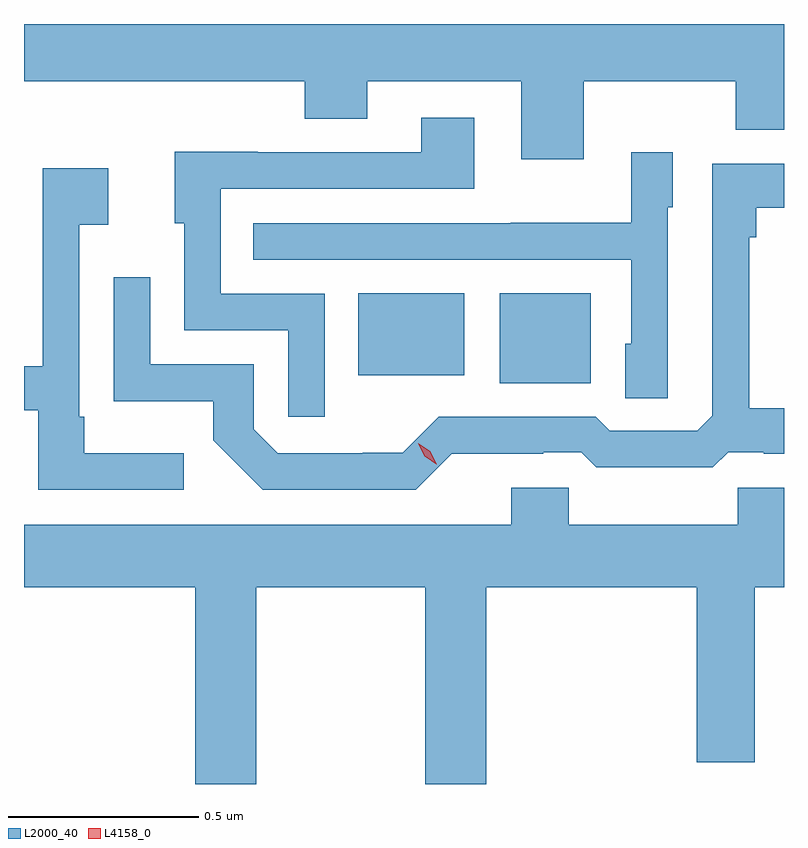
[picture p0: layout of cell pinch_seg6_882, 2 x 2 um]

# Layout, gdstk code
import gdstk
lib = gdstk.Library(unit=1e-6, precision=1e-09)
def R(c, l, rs):  # rectangles x0, y0, x1, y1
    for r in rs: c.add(gdstk.rectangle(r[:2], r[2:], *l))
def P(c, l, *ps):  # polygons
    for p in ps: c.add(gdstk.Polygon(p, *l))
L2000_40 = (2000, 40)
L4158_0 = (4158, 0)

pinch_seg6_882 = lib.new_cell('pinch_seg6_882')
R(pinch_seg6_882, L2000_40, [(175.724,962.525,175.963,962.761), (175.352,962.546,175.63,962.761)])
P(pinch_seg6_882, L2000_40, [(175.945,963.32),(176.345,963.32),(176.345,963.192),(176.472,963.192),(176.472,963.47),(174.472,963.47),(174.472,963.32),(175.211,963.32),(175.211,963.221),(175.375,963.221),(175.375,963.32),(175.781,963.32),(175.781,963.114),(175.945,963.114)],
  [(175.263,962.76),(174.99,962.76),(174.99,963.036),(175.657,963.036),(175.657,963.223),(175.517,963.223),(175.517,963.132),(175.087,963.132),(175.087,963.134),(174.869,963.134),(174.869,962.946),(174.894,962.946),(174.894,962.664),(175.167,962.664),(175.167,962.436),(175.263,962.436)],
  [(176.166,962.988),(176.179,962.988),(176.179,963.133),(176.07,963.133),(176.07,962.947),(175.753,962.947),(175.753,962.946),(175.075,962.946),(175.075,962.85),(176.07,962.85),(176.07,962.628),(176.054,962.628),(176.054,962.485),(176.166,962.485)],
  [(175.598,962.339),(175.838,962.339),(175.838,962.343),(175.938,962.343),(175.978,962.304),(176.285,962.304),(176.325,962.343),(176.419,962.343),(176.419,962.339),(176.472,962.339),(176.472,962.459),(176.381,962.459),(176.381,962.909),(176.399,962.909),(176.399,962.986),(176.472,962.986),(176.472,963.102),(176.283,963.102),(176.283,962.439),(176.244,962.4),(176.013,962.4),(175.977,962.436),(175.563,962.436),(175.469,962.342),(175.364,962.342),(175.364,962.34),(175.14,962.34),(175.077,962.403),(175.077,962.574),(174.804,962.574),(174.804,962.803),(174.708,962.803),(174.708,962.477),(174.97,962.477),(174.97,962.375),(175.1,962.244),(175.503,962.244)],
  [(174.892,962.341),(174.631,962.341),(174.631,962.437),(174.618,962.437),(174.618,962.942),(174.694,962.942),(174.694,963.091),(174.521,963.091),(174.521,962.569),(174.472,962.569),(174.472,962.453),(174.51,962.453),(174.51,962.244),(174.892,962.244)],
  [(175.083,961.988),(175.528,961.988),(175.528,961.47),(175.688,961.47),(175.688,961.988),(176.243,961.988),(176.243,961.527),(176.395,961.527),(176.395,961.988),(176.472,961.988),(176.472,962.25),(176.35,962.25),(176.35,962.152),(175.905,962.152),(175.905,962.25),(175.754,962.25),(175.754,962.152),(174.472,962.152),(174.472,961.988),(174.923,961.988),(174.923,961.47),(175.083,961.47)])
P(pinch_seg6_882, L4158_0, [(175.557,962.312),(175.526,962.333),(175.51,962.366),(175.51,962.367),(175.51,962.367),(175.541,962.346),(175.558,962.312),(175.558,962.312)])

lib.write_gds('pinch_seg6_882.gds')
